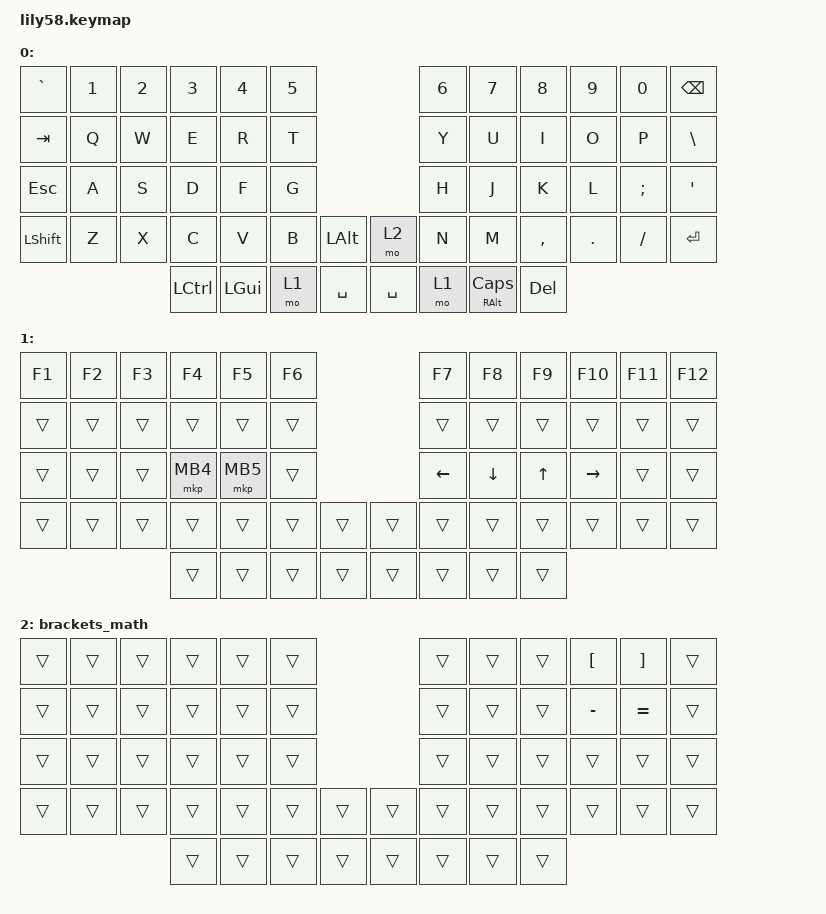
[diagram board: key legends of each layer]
/*
 * Copyright (c) 2020 The ZMK Contributors
 *
 * SPDX-License-Identifier: MIT
 */

#include <behaviors.dtsi>
#include <dt-bindings/zmk/keys.h>
#include <dt-bindings/zmk/pointing.h>

/ {
    keymap {
        compatible = "zmk,keymap";

        default {
            // ------------------------------------------------------------------------------------------------------------
            // |  ESC  |  1  |  2  |  3   |  4   |  5   |                   |  6   |  7    |  8    |  9   |   0   |   `   |
            // |  TAB  |  Q  |  W  |  E   |  R   |  T   |                   |  Y   |  U    |  I    |  O   |   P   |   -   |
            // |  CTRL |  A  |  S  |  D   |  F   |  G   |                   |  H   |  J    |  K    |  L   |   ;   |   '   |
            // | SHIFT |  Z  |  X  |  C   |  V   |  B   |   "["  |  |  "]"  |  N   |  M    |  ,    |  .   |   /   | SHIFT |
            //                     | ALT  | GUI  | LOWER|  SPACE |  | ENTER | RAISE| BSPC  | GUI   |

            display-name = " ";
            bindings = <
&kp GRAVE  &kp N1  &kp N2  &kp N3            &kp N4    &kp N5                             &kp N6  &kp N7              &kp N8      &kp N9   &kp N0    &kp BACKSPACE
&kp TAB    &kp Q   &kp W   &kp E             &kp R     &kp T                              &kp Y   &kp U               &kp I       &kp O    &kp P     &kp BACKSLASH
&kp ESC    &kp A   &kp S   &kp D             &kp F     &kp G                              &kp H   &kp J               &kp K       &kp L    &kp SEMI  &kp SQT
&kp LSHFT  &kp Z   &kp X   &kp C             &kp V     &kp B   &kp LEFT_ALT    &mo 2      &kp N   &kp M               &kp COMMA   &kp DOT  &kp FSLH  &kp ENTER
                           &kp LEFT_CONTROL  &kp LGUI  &mo 1   &kp SPACE       &kp SPACE  &mo 1   &mt RIGHT_ALT CAPS  &kp DELETE
            >;
        };

        fn_mov {
            // ------------------------------------------------------------------------------------------------------------
            // | BTCLR | BT1 | BT2 |  BT3 |  BT4 |  BT5 |                   |      |       |       |      |       |       |
            // |  F1   |  F2 |  F3 |  F4  |  F5  |  F6  |                   |  F7  |  F8   |  F9   |  F10 |  F11  |  F12  |
            // |   `   |  !  |  @  |  #   |  $   |  %   |                   |  ^   |  &    |  *    |  (   |   )   |   ~   |
            // |       |     |     |      |      |      |        |  |       |      |  _    |  +    |  {   |   }   |  "|"  |
            //                     |      |      |      |        |  |       |      |       |       |

            display-name = " ";
            bindings = <
&kp F1  &kp F2  &kp F3  &kp F4    &kp F5    &kp F6                    &kp F7          &kp F8          &kp F9        &kp F10          &kp F11  &kp F12
&trans  &trans  &trans  &trans    &trans    &trans                    &trans          &trans          &trans        &trans           &trans   &trans
&trans  &trans  &trans  &mkp MB4  &mkp MB5  &trans                    &kp LEFT_ARROW  &kp DOWN_ARROW  &kp UP_ARROW  &kp RIGHT_ARROW  &trans   &trans
&trans  &trans  &trans  &trans    &trans    &trans  &trans    &trans  &trans          &trans          &trans        &trans           &trans   &trans
                        &trans    &trans    &trans  &trans    &trans  &trans          &trans          &trans
            >;
        };

        brackets_math {
            bindings = <
&trans  &trans  &trans  &trans  &trans  &trans                    &trans  &trans  &trans  &kp LEFT_BRACKET  &kp RIGHT_BRACKET  &trans
&trans  &trans  &trans  &trans  &trans  &trans                    &trans  &trans  &trans  &kp MINUS         &kp EQUAL          &trans
&trans  &trans  &trans  &trans  &trans  &trans                    &trans  &trans  &trans  &trans            &trans             &trans
&trans  &trans  &trans  &trans  &trans  &trans  &trans    &trans  &trans  &trans  &trans  &trans            &trans             &trans
                        &trans  &trans  &trans  &trans    &trans  &trans  &trans  &trans
            >;
        };
    };
};
